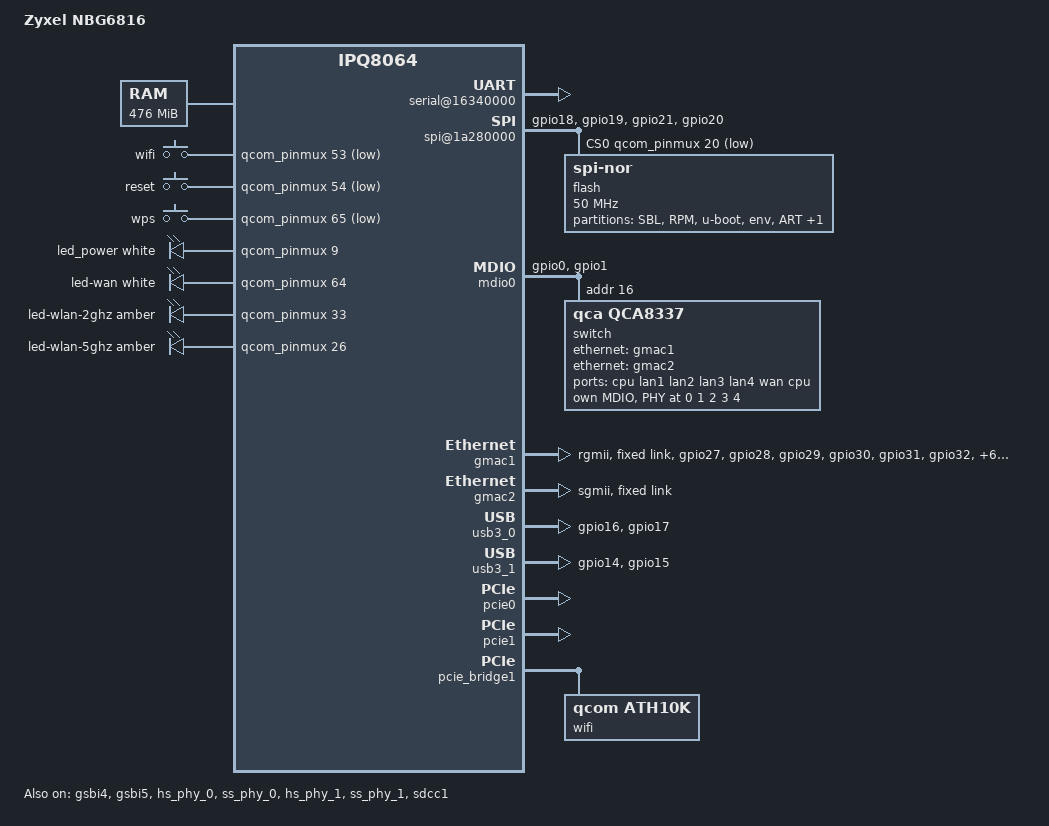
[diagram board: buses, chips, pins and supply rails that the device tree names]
// SPDX-License-Identifier: GPL-2.0-or-later OR MIT

#include "qcom-ipq8064-smb208.dtsi"

#include <dt-bindings/input/input.h>
#include <dt-bindings/leds/common.h>

/ {
	model = "Zyxel NBG6816";
	compatible = "zyxel,nbg6816", "qcom,ipq8064";

	memory@42000000 {
		/* The stock kernel's RAM: the stock firmware keeps the top 4 MB out */
		reg = <0x42000000 0x1dc00000>;
		device_type = "memory";
	};

	aliases {
		serial0 = &gsbi4_serial;

		led-boot = &led_power;
		led-failsafe = &led_power;
		led-running = &led_power;
		led-upgrade = &led_power;
	};

	chosen {
		stdout-path = "serial0:115200n8";
	};

	keys {
		compatible = "gpio-keys";
		pinctrl-0 = <&button_pins>;
		pinctrl-names = "default";

		/* A latching switch on the back: low with the Wi-Fi on */
		switch-wifi {
			label = "wifi";
			gpios = <&qcom_pinmux 53 GPIO_ACTIVE_LOW>;
			linux,code = <KEY_RFKILL>;
			linux,input-type = <EV_SW>;
			debounce-interval = <60>;
		};

		button-reset {
			label = "reset";
			gpios = <&qcom_pinmux 54 GPIO_ACTIVE_LOW>;
			linux,code = <KEY_RESTART>;
			debounce-interval = <60>;
		};

		button-wps {
			label = "wps";
			gpios = <&qcom_pinmux 65 GPIO_ACTIVE_LOW>;
			linux,code = <KEY_WPS_BUTTON>;
			debounce-interval = <60>;
		};
	};

	/*
	 * Each WLAN LED is white and amber. The white elements are the radios' own: the 2.4 GHz
	 * one is ath10k's (ath10k-phy0), the 5 GHz one the Quantenna card's.
	 */
	leds {
		compatible = "gpio-leds";
		pinctrl-0 = <&led_pins>;
		pinctrl-names = "default";

		led_power: led-power {
			function = LED_FUNCTION_POWER;
			color = <LED_COLOR_ID_WHITE>;
			gpios = <&qcom_pinmux 9 GPIO_ACTIVE_HIGH>;
			default-state = "keep";
		};

		led-wan {
			function = LED_FUNCTION_WAN;
			color = <LED_COLOR_ID_WHITE>;
			gpios = <&qcom_pinmux 64 GPIO_ACTIVE_HIGH>;
		};

		led-wlan-2ghz {
			function = LED_FUNCTION_WLAN_2GHZ;
			color = <LED_COLOR_ID_AMBER>;
			gpios = <&qcom_pinmux 33 GPIO_ACTIVE_HIGH>;
		};

		led-wlan-5ghz {
			function = LED_FUNCTION_WLAN_5GHZ;
			color = <LED_COLOR_ID_AMBER>;
			gpios = <&qcom_pinmux 26 GPIO_ACTIVE_HIGH>;
		};
	};
};

&qcom_pinmux {
	button_pins: button-state {
		pins = "gpio53", "gpio54", "gpio65";
		function = "gpio";
		drive-strength = <2>;
		bias-pull-up;
	};

	led_pins: led-state {
		pins = "gpio9", "gpio26", "gpio33", "gpio64";
		function = "gpio";
		drive-strength = <2>;
		bias-pull-down;
	};

	mdio0_pins: mdio0-state {
		/delete-property/ pins;
		/delete-property/ function;
		/delete-property/ drive-strength;
		/delete-property/ bias-disable;

		mux {
			pins = "gpio0", "gpio1";
			function = "mdio";
			drive-strength = <8>;
			bias-disable;
		};

		clk {
			pins = "gpio1";
			input-disable;
		};
	};

	rgmii2_pins: rgmii2-state {
		/delete-property/ pins;
		/delete-property/ function;
		/delete-property/ drive-strength;
		/delete-property/ bias-disable;

		mux {
			pins = "gpio27", "gpio28", "gpio29",
			       "gpio30", "gpio31", "gpio32",
			       "gpio51", "gpio52", "gpio59",
			       "gpio60", "gpio61", "gpio62";
			function = "rgmii2";
			drive-strength = <8>;
			bias-disable;
		};

		tx {
			pins = "gpio27", "gpio28", "gpio29",
			       "gpio30", "gpio31", "gpio32";
			input-disable;
		};
	};

	/* U-Boot has no MMC support: nothing else muxes the eMMC's pins after a cold boot */
	sdcc1_pins: sdcc1-state {
		mux {
			pins = "gpio38", "gpio39", "gpio40",
			       "gpio41", "gpio42", "gpio43",
			       "gpio44", "gpio45", "gpio46",
			       "gpio47";
			function = "sdc1";
			drive-strength = <8>;
		};

		clk {
			pins = "gpio42";
			bias-disable;
		};

		cmd-data {
			pins = "gpio38", "gpio39", "gpio40",
			       "gpio41", "gpio43", "gpio44",
			       "gpio45", "gpio46", "gpio47";
			bias-pull-up;
		};
	};

	spi_pins: spi-state {
		/delete-property/ pins;
		/delete-property/ function;
		/delete-property/ drive-strength;
		/delete-property/ bias-disable;

		mux {
			pins = "gpio18", "gpio19", "gpio21";
			function = "gsbi5";
			drive-strength = <10>;
			bias-disable;
		};

		cs {
			pins = "gpio20";
			drive-strength = <12>;
		};
	};

	usb0_pwr_en_pins: usb0-pwr-en-state {
		mux {
			pins = "gpio16", "gpio17";
			function = "gpio";
			drive-strength = <12>;
		};

		pwr {
			pins = "gpio17";
			bias-pull-down;
			output-high;
		};

		ovc {
			pins = "gpio16";
			bias-pull-up;
		};
	};

	usb1_pwr_en_pins: usb1-pwr-en-state {
		mux {
			pins = "gpio14", "gpio15";
			function = "gpio";
			drive-strength = <12>;
		};

		pwr {
			pins = "gpio14";
			bias-pull-down;
			output-high;
		};

		ovc {
			pins = "gpio15";
			bias-pull-up;
		};
	};
};

&gsbi4 {
	qcom,mode = <GSBI_PROT_I2C_UART>;
	status = "okay";

	serial@16340000 {
		status = "okay";
	};
};

&gsbi5 {
	qcom,mode = <GSBI_PROT_SPI>;
	status = "okay";

	spi@1a280000 {
		status = "okay";

		pinctrl-0 = <&spi_pins>;
		pinctrl-names = "default";

		cs-gpios = <&qcom_pinmux 20 GPIO_ACTIVE_LOW>;

		flash@0 {
			compatible = "jedec,spi-nor";
			spi-max-frequency = <50000000>;
			reg = <0>;

			partitions {
				compatible = "fixed-partitions";
				#address-cells = <1>;
				#size-cells = <1>;

				partition@0 {
					label = "SBL";
					reg = <0x0 0x100000>;
					read-only;
				};

				partition@100000 {
					label = "RPM";
					reg = <0x100000 0x40000>;
					read-only;
				};

				partition@140000 {
					label = "u-boot";
					reg = <0x140000 0x80000>;
					read-only;
				};

				partition@1c0000 {
					label = "env";
					reg = <0x1c0000 0x10000>;
					read-only;

					nvmem-layout {
						compatible = "u-boot,env";
						env-size = <0x10000>;

						macaddr_uboot_ethaddr: ethaddr {
							#nvmem-cell-cells = <1>;
						};
					};
				};

				/* Blank here: the Wi-Fi calibration is in the cards' OTP */
				partition@1d0000 {
					label = "ART";
					reg = <0x1d0000 0x10000>;
					read-only;
				};

				/* U-Boot boots the uImage at its start, reading 10 MB */
				partition@1e0000 {
					compatible = "denx,uimage";
					label = "firmware";
					reg = <0x1e0000 0x1e20000>;
				};
			};
		};
	};
};

&mdio0 {
	status = "okay";

	pinctrl-0 = <&mdio0_pins>;
	pinctrl-names = "default";

	switch@10 {
		compatible = "qca,qca8337";
		#address-cells = <1>;
		#size-cells = <0>;
		reg = <0x10>;

		ports {
			#address-cells = <1>;
			#size-cells = <0>;

			port@0 {
				reg = <0>;
				label = "cpu";
				ethernet = <&gmac1>;
				phy-mode = "rgmii";
				tx-internal-delay-ps = <1000>;
				rx-internal-delay-ps = <1000>;

				fixed-link {
					speed = <1000>;
					full-duplex;
				};
			};

			port@1 {
				reg = <1>;
				label = "lan1";
				phy-mode = "internal";
				phy-handle = <&phy_port1>;
			};

			port@2 {
				reg = <2>;
				label = "lan2";
				phy-mode = "internal";
				phy-handle = <&phy_port2>;
			};

			port@3 {
				reg = <3>;
				label = "lan3";
				phy-mode = "internal";
				phy-handle = <&phy_port3>;
			};

			port@4 {
				reg = <4>;
				label = "lan4";
				phy-mode = "internal";
				phy-handle = <&phy_port4>;
			};

			port@5 {
				reg = <5>;
				label = "wan";
				phy-mode = "internal";
				phy-handle = <&phy_port5>;
			};

			port@6 {
				reg = <6>;
				label = "cpu";
				ethernet = <&gmac2>;
				phy-mode = "sgmii";
				qca,sgmii-enable-pll;

				fixed-link {
					speed = <1000>;
					full-duplex;
				};
			};
		};

		mdio {
			#address-cells = <1>;
			#size-cells = <0>;

			phy_port1: phy@0 {
				reg = <0>;
			};

			phy_port2: phy@1 {
				reg = <1>;
			};

			phy_port3: phy@2 {
				reg = <2>;
			};

			phy_port4: phy@3 {
				reg = <3>;
			};

			phy_port5: phy@4 {
				reg = <4>;
			};
		};
	};
};

/* The MACs as the stock firmware sets them: eth0 ethaddr + 3, eth1 ethaddr + 2 */
&gmac1 {
	status = "okay";
	phy-mode = "rgmii";
	qcom,id = <1>;

	pinctrl-0 = <&rgmii2_pins>;
	pinctrl-names = "default";

	nvmem-cells = <&macaddr_uboot_ethaddr 3>;
	nvmem-cell-names = "mac-address";

	fixed-link {
		speed = <1000>;
		full-duplex;
	};
};

&gmac2 {
	status = "okay";
	phy-mode = "sgmii";
	qcom,id = <2>;

	nvmem-cells = <&macaddr_uboot_ethaddr 2>;
	nvmem-cell-names = "mac-address";

	fixed-link {
		speed = <1000>;
		full-duplex;
	};
};

&hs_phy_0 {
	status = "okay";
};

&ss_phy_0 {
	status = "okay";
};

&usb3_0 {
	status = "okay";

	pinctrl-0 = <&usb0_pwr_en_pins>;
	pinctrl-names = "default";
};

&hs_phy_1 {
	status = "okay";
};

&ss_phy_1 {
	status = "okay";
};

&usb3_1 {
	status = "okay";

	pinctrl-0 = <&usb1_pwr_en_pins>;
	pinctrl-names = "default";
};

/* The 4 GB eMMC, a data disk: U-Boot can't boot from it */
&sdcc1 {
	status = "okay";

	pinctrl-0 = <&sdcc1_pins>;
	pinctrl-names = "default";
};

/* The 5 GHz card, a Quantenna QSR1000: qtnfmac's firmware for it was never released */
&pcie0 {
	status = "okay";
};

/* The 2.4 GHz card; its calibration is in its own OTP, which ath10k reads by default */
&pcie1 {
	status = "okay";
};

&pcie_bridge1 {
	wifi@0,0 {
		compatible = "qcom,ath10k";
		reg = <0x00010000 0 0 0 0>;
		nvmem-cells = <&macaddr_uboot_ethaddr 0>;
		nvmem-cell-names = "mac-address";
	};
};

&adm_dma {
	status = "okay";
};
